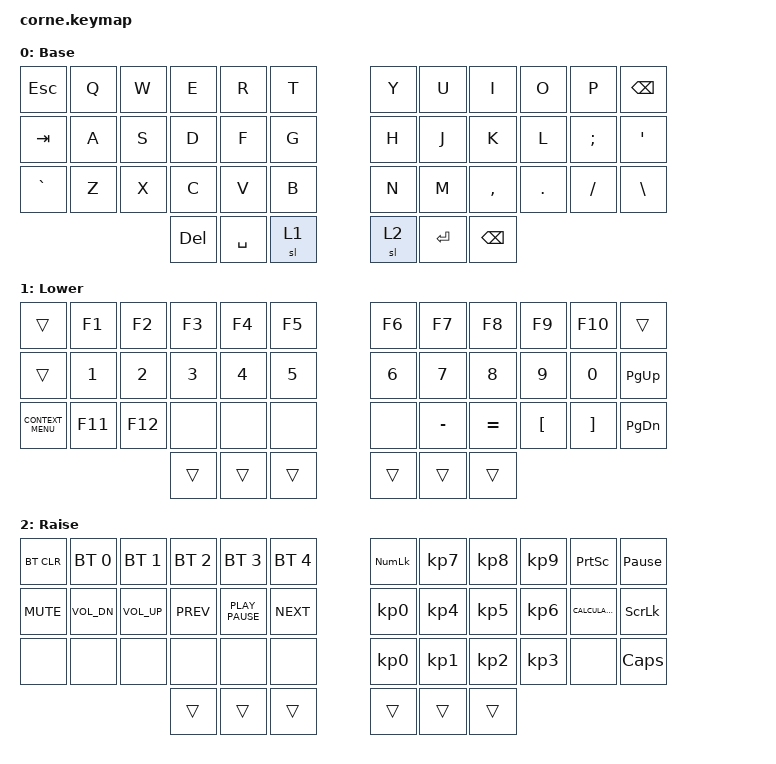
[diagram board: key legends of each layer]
/*
 * Copyright (c) 2020 The ZMK Contributors
 *
 * SPDX-License-Identifier: MIT
 */

#include <behaviors.dtsi>
#include <dt-bindings/zmk/bt.h>
#include <dt-bindings/zmk/keys.h>

/ {
    combos {
        compatible = "zmk,combos";

        C_LHOME {
            bindings = <&kp HOME>;
            key-positions = <1 13>;
            slow-release;
        };

        C_LDELETE {
            bindings = <&kp DELETE>;
            key-positions = <2 14>;
            slow-release;
        };

        C_LINS {
            bindings = <&kp INSERT>;
            key-positions = <3 15>;
            slow-release;
        };

        C_LEND {
            bindings = <&kp END>;
            key-positions = <4 16>;
            slow-release;
        };

        C_LGUI {
            bindings = <&kp LEFT_GUI>;
            key-positions = <13 25>;
            slow-release;
        };

        C_LALT {
            bindings = <&kp LALT>;
            key-positions = <14 26>;
            slow-release;
        };

        C_LCTRL {
            bindings = <&kp LCTRL>;
            key-positions = <15 27>;
            slow-release;
        };

        C_LSHIFT {
            bindings = <&kp LEFT_SHIFT>;
            key-positions = <16 28>;
            slow-release;
        };

        C_RLEFT {
            bindings = <&kp LEFT>;
            key-positions = <7 19>;
            slow-release;
        };

        C_RDOWN {
            bindings = <&kp DOWN_ARROW>;
            key-positions = <8 20>;
            slow-release;
        };

        C_RUP {
            bindings = <&kp UP_ARROW>;
            key-positions = <9 21>;
            slow-release;
        };

        C_RRIGHT {
            bindings = <&kp RIGHT>;
            key-positions = <10 22>;
            slow-release;
        };

        C_RSHIFT {
            bindings = <&kp RIGHT_SHIFT>;
            key-positions = <19 31>;
            slow-release;
        };

        C_RCTRL {
            bindings = <&kp RIGHT_CONTROL>;
            key-positions = <20 32>;
            slow-release;
        };

        C_RALT {
            bindings = <&kp RALT>;
            key-positions = <21 33>;
            slow-release;
        };

        C_RWIN {
            bindings = <&kp RWIN>;
            key-positions = <22 34>;
            slow-release;
        };

        C_TO_next1 {
            bindings = <&to 1>;
            key-positions = <38 39>;
            layers = <0>;
        };

        C_TO_0 {
            bindings = <&to 0>;
            key-positions = <37 40>;
        };

        C_TO_next2 {
            bindings = <&to 2>;
            key-positions = <38 39>;
            layers = <1>;
        };

        C_TO_previous1 {
            bindings = <&to 1>;
            key-positions = <38 39>;
        };
    };

    keymap {
        compatible = "zmk,keymap";

        default_layer {
            // -----------------------------------------------------------------------------------------
            // |  TAB |  Q  |  W  |  E  |  R  |  T  |   |  Y  |  U   |  I  |  O  |  P  | BKSP |
            // | CTRL |  A  |  S  |  D  |  F  |  G  |   |  H  |  J   |  K  |  L  |  ;  |  '   |
            // | SHFT |  Z  |  X  |  C  |  V  |  B  |   |  N  |  M   |  ,  |  .  |  /  | ESC  |
            //                    | GUI | LWR | SPC |   | ENT | RSE  | ALT |

            label = "Base";
            bindings = <
&kp ESCAPE  &kp Q  &kp W       &kp E      &kp R  &kp T    &kp Y      &kp U          &kp I    &kp O     &kp P  &kp BACKSPACE
   &kp TAB  &kp A  &kp S       &kp D      &kp F  &kp G    &kp H      &kp J          &kp K    &kp L  &kp SEMI        &kp SQT
 &kp GRAVE  &kp Z  &kp X       &kp C      &kp V  &kp B    &kp N      &kp M      &kp COMMA  &kp DOT  &kp FSLH  &kp BACKSLASH
                          &kp DELETE  &kp SPACE  &sl 1    &sl 2  &kp ENTER  &kp BACKSPACE
            >;
        };

        lower_layer {
            // -----------------------------------------------------------------------------------------
            // |  TAB |  1  |  2  |  3  |  4  |  5  |   |  6  |  7  |  8  |  9  |  0  | BKSP |
            // | BTCLR| BT1 | BT2 | BT3 | BT4 | BT5 |   | LFT | DWN |  UP | RGT |     |      |
            // | SHFT |     |     |     |     |     |   |     |     |     |     |     |      |
            //                    | GUI |     | SPC |   | ENT |     | ALT |

            label = "Lower";
            bindings = <
            &trans        &kp F1        &kp F2        &kp F3        &kp F4        &kp F5          &kp F6        &kp F7        &kp F8            &kp F9            &kp F10         &trans
            &trans  &kp NUMBER_1  &kp NUMBER_2  &kp NUMBER_3  &kp NUMBER_4  &kp NUMBER_5    &kp NUMBER_6  &kp NUMBER_7  &kp NUMBER_8      &kp NUMBER_9       &kp NUMBER_0    &kp PAGE_UP
&kp K_CONTEXT_MENU       &kp F11       &kp F12         &none         &none         &none           &none     &kp MINUS     &kp EQUAL  &kp LEFT_BRACKET  &kp RIGHT_BRACKET  &kp PAGE_DOWN
                                                      &trans        &trans        &trans          &trans        &trans        &trans
            >;
        };

        raise_layer {
            // -----------------------------------------------------------------------------------------
            // |  TAB |  !  |  @  |  #  |  $  |  %  |   |  ^  |  &  |  *  |  (  |  )  | BKSP |
            // | CTRL |     |     |     |     |     |   |  -  |  =  |  [  |  ]  |  \  |  `   |
            // | SHFT |     |     |     |     |     |   |  _  |  +  |  {  |  }  | "|" |  ~   |
            //                    | GUI |     | SPC |   | ENT |     | ALT |

            label = "Raise";
            bindings = <
&bt BT_CLR  &bt BT_SEL 0  &bt BT_SEL 1  &bt BT_SEL 2      &bt BT_SEL 3  &bt BT_SEL 4     &kp KP_NUMLOCK  &kp KP_N7  &kp KP_N8  &kp KP_N9   &kp PRINTSCREEN  &kp PAUSE_BREAK
&kp K_MUTE  &kp C_VOL_DN  &kp C_VOL_UP    &kp K_PREV  &kp K_PLAY_PAUSE    &kp K_NEXT    &kp KP_NUMBER_0  &kp KP_N4  &kp KP_N5  &kp KP_N6  &kp K_CALCULATOR   &kp SCROLLLOCK
     &none         &none         &none         &none             &none         &none          &kp KP_N0  &kp KP_N1  &kp KP_N2  &kp KP_N3             &none     &kp CAPSLOCK
                                              &trans            &trans        &trans             &trans     &trans     &trans
            >;
        };
    };
};
